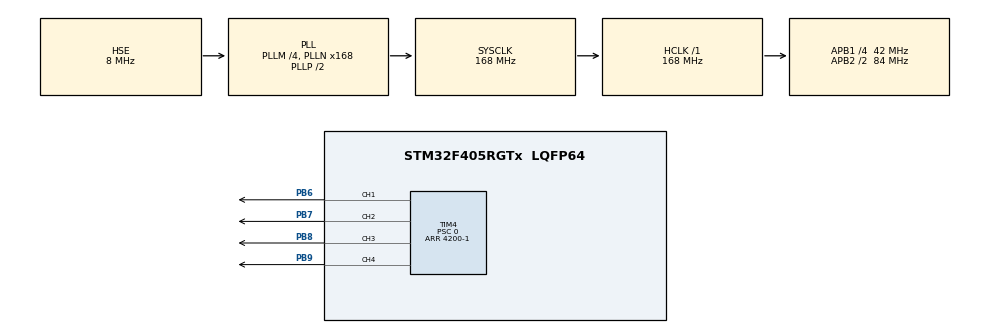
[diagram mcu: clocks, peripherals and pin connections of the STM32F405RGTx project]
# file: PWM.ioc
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Mcu.Family=STM32F4
Mcu.Name=STM32F405RGTx
Mcu.Package=LQFP64
NVIC.PriorityGroup=NVIC_PRIORITYGROUP_4
PA13.Mode=Serial_Wire
PA13.Signal=SYS_JTMS-SWDIO
PA14.Mode=Serial_Wire
PA14.Signal=SYS_JTCK-SWCLK
PB6.Signal=S_TIM4_CH1
PB7.Signal=S_TIM4_CH2
PB8.Signal=S_TIM4_CH3
PB9.Signal=S_TIM4_CH4
PC6.GPIO_Speed=GPIO_SPEED_FREQ_HIGH
PC6.Signal=S_TIM8_CH1
PC7.GPIO_Speed=GPIO_SPEED_FREQ_HIGH
PC7.Signal=S_TIM8_CH2
PC8.GPIO_Speed=GPIO_SPEED_FREQ_HIGH
PC8.Signal=S_TIM8_CH3
PC9.GPIO_Speed=GPIO_SPEED_FREQ_HIGH
PC9.Signal=S_TIM8_CH4
PH0-OSC_IN.Mode=HSE-External-Oscillator
PH0-OSC_IN.Signal=RCC_OSC_IN
PH1-OSC_OUT.Mode=HSE-External-Oscillator
PH1-OSC_OUT.Signal=RCC_OSC_OUT
ProjectManager.HeapSize=0x200
ProjectManager.StackSize=0x400
ProjectManager.TargetToolchain=CMake
RCC.48MHZClocksFreq_Value=84000000
RCC.AHBFreq_Value=168000000
RCC.APB1CLKDivider=RCC_HCLK_DIV4
RCC.APB1Freq_Value=42000000
RCC.APB1TimFreq_Value=84000000
RCC.APB2CLKDivider=RCC_HCLK_DIV2
RCC.APB2Freq_Value=84000000
RCC.APB2TimFreq_Value=168000000
RCC.CortexFreq_Value=168000000
RCC.HCLKFreq_Value=168000000
RCC.HSE_VALUE=8000000
RCC.HSI_VALUE=16000000
RCC.LSE_VALUE=32768
RCC.PLLM=4
RCC.PLLN=168
RCC.PLLSourceVirtual=RCC_PLLSOURCE_HSE
RCC.SYSCLKFreq_VALUE=168000000
RCC.SYSCLKSource=RCC_SYSCLKSOURCE_PLLCLK
RCC.VCOOutputFreq_Value=336000000
SH.S_TIM4_CH1.0=TIM4_CH1,PWM Generation1 CH1
SH.S_TIM4_CH2.0=TIM4_CH2,PWM Generation2 CH2
SH.S_TIM4_CH3.0=TIM4_CH3,PWM Generation3 CH3
SH.S_TIM4_CH4.0=TIM4_CH4,PWM Generation4 CH4
SH.S_TIM8_CH1.0=TIM8_CH1
SH.S_TIM8_CH2.0=TIM8_CH2
SH.S_TIM8_CH3.0=TIM8_CH3
SH.S_TIM8_CH4.0=TIM8_CH4
TIM4.Channel-PWM\ Generation1\ CH1=TIM_CHANNEL_1
TIM4.Channel-PWM\ Generation2\ CH2=TIM_CHANNEL_2
TIM4.Channel-PWM\ Generation3\ CH3=TIM_CHANNEL_3
TIM4.Channel-PWM\ Generation4\ CH4=TIM_CHANNEL_4
TIM4.Period=4200-1
TIM4.Prescaler=0
TIM8.Channel-PWM\ Generation1\ CH1=TIM_CHANNEL_1
TIM8.Channel-PWM\ Generation2\ CH2=TIM_CHANNEL_2
TIM8.Channel-PWM\ Generation3\ CH3=TIM_CHANNEL_3
TIM8.Channel-PWM\ Generation4\ CH4=TIM_CHANNEL_4
TIM8.Period=4200-1
TIM8.Prescaler=1
board=custom

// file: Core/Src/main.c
/* USER CODE BEGIN Header */
/**
  ******************************************************************************
  * @file           : main.c
  * @brief          : Main program body
  ******************************************************************************
  * @attention
  *
  * Copyright (c) 2026 STMicroelectronics.
  * All rights reserved.
  *
  * This software is licensed under terms that can be found in the LICENSE file
  * in the root directory of this software component.
  * If no LICENSE file comes with this software, it is provided AS-IS.
  *
  ******************************************************************************
  */
/* USER CODE END Header */
#include "main.h"
#include "tim.h"
#include "gpio.h"

void SystemClock_Config(void);

int main(void)
{

  /* MCU Configuration--------------------------------------------------------*/

  /* Reset of all peripherals, Initializes the Flash interface and the Systick. */
  HAL_Init();

  /* Configure the system clock */
  SystemClock_Config();

  /* Initialize all configured peripherals */
  MX_GPIO_Init();
  MX_TIM4_Init();
  MX_TIM8_Init();
  /* USER CODE BEGIN 2 */

  __HAL_TIM_SET_COMPARE(&htim8, TIM_CHANNEL_1,  0);
  __HAL_TIM_SET_COMPARE(&htim8, TIM_CHANNEL_2, 0);

  __HAL_TIM_SET_COMPARE(&htim4, TIM_CHANNEL_1, 0);
  __HAL_TIM_SET_COMPARE(&htim4, TIM_CHANNEL_2, 0);

  __HAL_TIM_SET_COMPARE(&htim4, TIM_CHANNEL_3, 0);
  __HAL_TIM_SET_COMPARE(&htim4, TIM_CHANNEL_4, 2100);

  __HAL_TIM_SET_COMPARE(&htim8, TIM_CHANNEL_3, 0);
  __HAL_TIM_SET_COMPARE(&htim8, TIM_CHANNEL_4, 2100);

  HAL_TIM_PWM_Start(&htim8, TIM_CHANNEL_1);
  HAL_TIM_PWM_Start(&htim8, TIM_CHANNEL_2);

  HAL_TIM_PWM_Start(&htim8, TIM_CHANNEL_3);
  HAL_TIM_PWM_Start(&htim8, TIM_CHANNEL_4);
  HAL_TIM_PWM_Start(&htim4, TIM_CHANNEL_1);
  HAL_TIM_PWM_Start(&htim4, TIM_CHANNEL_2);
  HAL_TIM_PWM_Start(&htim4, TIM_CHANNEL_3);
  HAL_TIM_PWM_Start(&htim4, TIM_CHANNEL_4);

  /* USER CODE END 2 */

  /* Infinite loop */
  while (1)
  {

  }
}

void SystemClock_Config(void)
{
  RCC_OscInitTypeDef RCC_OscInitStruct = {0};
  RCC_ClkInitTypeDef RCC_ClkInitStruct = {0};

  /** Configure the main internal regulator output voltage
  */
  __HAL_RCC_PWR_CLK_ENABLE();
  __HAL_PWR_VOLTAGESCALING_CONFIG(PWR_REGULATOR_VOLTAGE_SCALE1);

  /** Initializes the RCC Oscillators according to the specified parameters
  * in the RCC_OscInitTypeDef structure.
  */
  RCC_OscInitStruct.OscillatorType = RCC_OSCILLATORTYPE_HSE;
  RCC_OscInitStruct.HSEState = RCC_HSE_ON;
  RCC_OscInitStruct.PLL.PLLState = RCC_PLL_ON;
  RCC_OscInitStruct.PLL.PLLSource = RCC_PLLSOURCE_HSE;
  RCC_OscInitStruct.PLL.PLLM = 4;
  RCC_OscInitStruct.PLL.PLLN = 168;
  RCC_OscInitStruct.PLL.PLLP = RCC_PLLP_DIV2;
  RCC_OscInitStruct.PLL.PLLQ = 4;
  if (HAL_RCC_OscConfig(&RCC_OscInitStruct) != HAL_OK)
  {
    Error_Handler();
  }

  /** Initializes the CPU, AHB and APB buses clocks
  */
  RCC_ClkInitStruct.ClockType = RCC_CLOCKTYPE_HCLK|RCC_CLOCKTYPE_SYSCLK
                              |RCC_CLOCKTYPE_PCLK1|RCC_CLOCKTYPE_PCLK2;
  RCC_ClkInitStruct.SYSCLKSource = RCC_SYSCLKSOURCE_PLLCLK;
  RCC_ClkInitStruct.AHBCLKDivider = RCC_SYSCLK_DIV1;
  RCC_ClkInitStruct.APB1CLKDivider = RCC_HCLK_DIV4;
  RCC_ClkInitStruct.APB2CLKDivider = RCC_HCLK_DIV2;

  if (HAL_RCC_ClockConfig(&RCC_ClkInitStruct, FLASH_LATENCY_5) != HAL_OK)
  {
    Error_Handler();
  }
}

void Error_Handler(void)
{
  __disable_irq();
  while (1)
  {
  }
}
